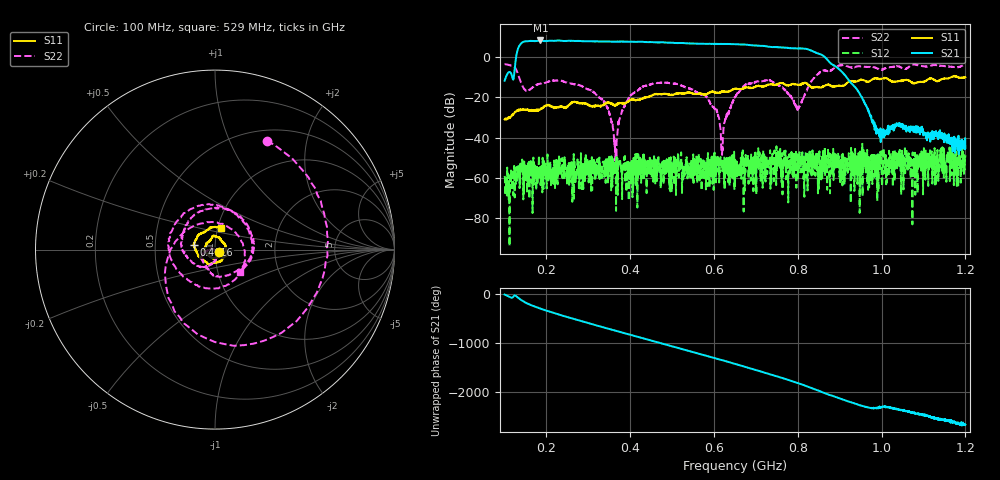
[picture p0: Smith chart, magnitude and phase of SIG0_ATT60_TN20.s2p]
# Hz S DB R 50
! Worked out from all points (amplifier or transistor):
!   1601 points, 100 MHz to 1.2 GHz, reference 50 ohm
!   highest |S21| = 8.4 dB at 185.2 MHz (marker M1)
!   |S21| within 3 dB of that: 134.2 MHz to 727.1 MHz (592.8 MHz wide, 138 % of centre)
!   unconditionally stable (mu >= 1): start of sweep to end of sweep
!   at 282.9 MHz: K = 165.58, MAG = 8.3 dB, |S12| = -58.9 dB
!   at 650 MHz: K = 360.92, MAG = 6.6 dB, |S12| = -64.0 dB
!   at 1.2 GHz: K = 12393.79, MAG = -42.1 dB, |S12| = -48.9 dB
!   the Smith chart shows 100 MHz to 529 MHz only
!   S11 on the Smith chart (normalised r, x): 100 MHz: 1.05, -0.03; 461.6 MHz: 0.79, +0.04; 529 MHz: 1.04, +0.26
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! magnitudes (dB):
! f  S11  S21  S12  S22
! 100 MHz  -31.0  -11.7  -59.2  -3.5
! 119.9 MHz  -28.4  -11.0  -56.0  -4.4
! 139.2 MHz  -25.9  6.8  -53.4  -12.7
! 185.2 MHz  -26.0  8.4  -58.2  -13.2
! 283.6 MHz  -23.1  8.0  -56.2  -14.3
! 340.6 MHz  -23.0  7.9  -51.5  -23.3
! 364.7 MHz  -24.3  7.7  -56.5  -48.2
! 396.3 MHz  -22.0  7.7  -71.4  -20.3
! 461.6 MHz  -18.5  7.4  -54.1  -12.8
! 467.1 MHz  -18.5  7.4  -48.9  -12.8
! 529 MHz  -18.0  7.0  -59.3  -14.6
! 583.3 MHz  -18.4  6.7  -52.4  -20.0
! 607.4 MHz  -17.5  6.6  -53.1  -26.9
! 619.1 MHz  -17.0  6.6  -55.4  -48.7
! 650 MHz  -15.7  6.5  -64.0  -19.8
! 731.1 MHz  -13.7  5.2  -55.1  -11.3
! 799.9 MHz  -13.8  4.4  -55.0  -25.0
! 833.6 MHz  -15.2  3.2  -54.2  -11.6
! 938.1 MHz  -12.1  -15.1  -59.0  -4.8
! 992.4 MHz  -10.9  -37.1  -67.1  -5.9
! 1.017 GHz  -11.2  -36.3  -58.8  -4.9
! 1.2 GHz  -10.0  -45.2  -48.9  -3.4
